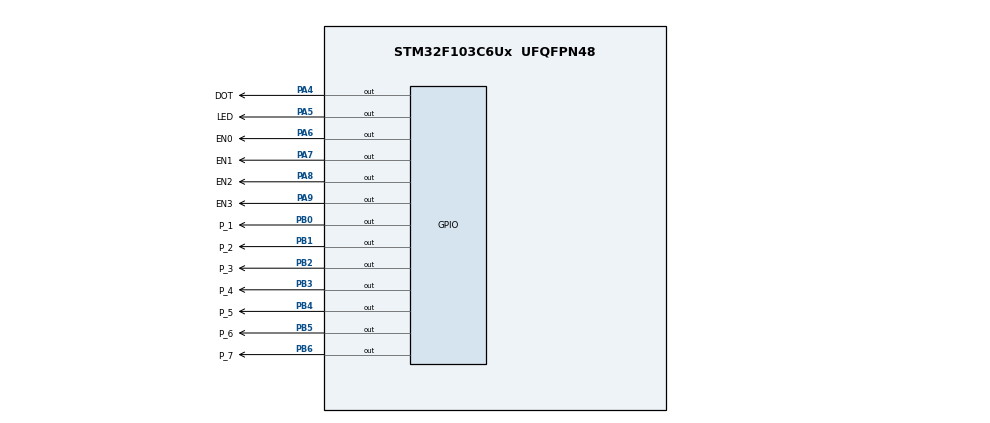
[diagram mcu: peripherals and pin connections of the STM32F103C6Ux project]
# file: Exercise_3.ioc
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Mcu.Family=STM32F1
Mcu.Name=STM32F103C6Ux
Mcu.Package=UFQFPN48
NVIC.PriorityGroup=NVIC_PRIORITYGROUP_4
NVIC.TIM2_IRQn=true\:0\:0\:false\:false\:true\:true\:true
PA4.GPIO_Label=DOT
PA4.Signal=GPIO_Output
PA5.GPIO_Label=LED
PA5.Signal=GPIO_Output
PA6.GPIO_Label=EN0
PA6.Signal=GPIO_Output
PA7.GPIO_Label=EN1
PA7.Signal=GPIO_Output
PA8.GPIO_Label=EN2
PA8.Signal=GPIO_Output
PA9.GPIO_Label=EN3
PA9.Signal=GPIO_Output
PB0.GPIO_Label=P_1
PB0.Signal=GPIO_Output
PB1.GPIO_Label=P_2
PB1.Signal=GPIO_Output
PB2.GPIO_Label=P_3
PB2.Signal=GPIO_Output
PB3.GPIO_Label=P_4
PB3.Signal=GPIO_Output
PB4.GPIO_Label=P_5
PB4.Signal=GPIO_Output
PB5.GPIO_Label=P_6
PB5.Signal=GPIO_Output
PB6.GPIO_Label=P_7
PB6.Signal=GPIO_Output
ProjectManager.HeapSize=0x200
ProjectManager.StackSize=0x400
ProjectManager.TargetToolchain=STM32CubeIDE
RCC.APB1Freq_Value=8000000
RCC.APB2Freq_Value=8000000
TIM2.Period=9
TIM2.Prescaler=7999
VP_SYS_VS_ND.Mode=No_Debug
VP_TIM2_VS_ClockSourceINT.Mode=Internal
board=custom

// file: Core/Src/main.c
/* USER CODE BEGIN Header */
/**
  ******************************************************************************
  * @file           : main.c
  * @brief          : Main program body
  ******************************************************************************
  * @attention
  *
  * <h2><center>&copy; Copyright (c) 2022 STMicroelectronics.
  * All rights reserved.</center></h2>
  *
  * This software component is licensed by ST under BSD 3-Clause license,
  * the "License"; You may not use this file except in compliance with the
  * License. You may obtain a copy of the License at:
  *                        opensource.org/licenses/BSD-3-Clause
  *
  ******************************************************************************
  */
/* USER CODE END Header */
#include "main.h"

TIM_HandleTypeDef htim2;

void SystemClock_Config(void);
static void MX_GPIO_Init(void);
static void MX_TIM2_Init(void);

/* USER CODE BEGIN 0 */
void display7SEG (int time)
{
	if(time==0)
	{
		HAL_GPIO_WritePin(P_1_GPIO_Port, P_1_Pin, RESET);
		HAL_GPIO_WritePin(P_2_GPIO_Port, P_2_Pin, RESET);
		HAL_GPIO_WritePin(P_3_GPIO_Port, P_3_Pin, RESET);
		HAL_GPIO_WritePin(P_4_GPIO_Port, P_4_Pin, RESET);
		HAL_GPIO_WritePin(P_5_GPIO_Port, P_5_Pin, RESET);
		HAL_GPIO_WritePin(P_6_GPIO_Port, P_6_Pin, RESET);
		HAL_GPIO_WritePin(P_7_GPIO_Port, P_7_Pin, SET);
	}
	else if(time==1)
	{
		HAL_GPIO_WritePin(P_1_GPIO_Port, P_1_Pin, SET);
		HAL_GPIO_WritePin(P_2_GPIO_Port, P_2_Pin, RESET);
		HAL_GPIO_WritePin(P_3_GPIO_Port, P_3_Pin, RESET);
		HAL_GPIO_WritePin(P_4_GPIO_Port, P_4_Pin, SET);
		HAL_GPIO_WritePin(P_5_GPIO_Port, P_5_Pin, SET);
		HAL_GPIO_WritePin(P_6_GPIO_Port, P_6_Pin, SET);
		HAL_GPIO_WritePin(P_7_GPIO_Port, P_7_Pin, SET);
	}
	else if(time==2)
	{
		HAL_GPIO_WritePin(P_1_GPIO_Port, P_1_Pin, RESET);
		HAL_GPIO_WritePin(P_2_GPIO_Port, P_2_Pin, RESET);
		HAL_GPIO_WritePin(P_3_GPIO_Port, P_3_Pin, SET);
		HAL_GPIO_WritePin(P_4_GPIO_Port, P_4_Pin, RESET);
		HAL_GPIO_WritePin(P_5_GPIO_Port, P_5_Pin, RESET);
		HAL_GPIO_WritePin(P_6_GPIO_Port, P_6_Pin, SET);
		HAL_GPIO_WritePin(P_7_GPIO_Port, P_7_Pin, RESET);
	}
	else if(time==3)
	{
		HAL_GPIO_WritePin(P_1_GPIO_Port, P_1_Pin, RESET);
		HAL_GPIO_WritePin(P_2_GPIO_Port, P_2_Pin, RESET);
		HAL_GPIO_WritePin(P_3_GPIO_Port, P_3_Pin, RESET);
		HAL_GPIO_WritePin(P_4_GPIO_Port, P_4_Pin, RESET);
		HAL_GPIO_WritePin(P_5_GPIO_Port, P_5_Pin, SET);
		HAL_GPIO_WritePin(P_6_GPIO_Port, P_6_Pin, SET);
		HAL_GPIO_WritePin(P_7_GPIO_Port, P_7_Pin, RESET);
	}
	else if(time==4)
	{
		HAL_GPIO_WritePin(P_1_GPIO_Port, P_1_Pin, SET);
		HAL_GPIO_WritePin(P_2_GPIO_Port, P_2_Pin, RESET);
		HAL_GPIO_WritePin(P_3_GPIO_Port, P_3_Pin, RESET);
		HAL_GPIO_WritePin(P_4_GPIO_Port, P_4_Pin, SET);
		HAL_GPIO_WritePin(P_5_GPIO_Port, P_5_Pin, SET);
		HAL_GPIO_WritePin(P_6_GPIO_Port, P_6_Pin, RESET);
		HAL_GPIO_WritePin(P_7_GPIO_Port, P_7_Pin, RESET);
	}
	else if(time==5)
	{
		HAL_GPIO_WritePin(P_1_GPIO_Port, P_1_Pin, RESET);
		HAL_GPIO_WritePin(P_2_GPIO_Port, P_2_Pin, SET);
		HAL_GPIO_WritePin(P_3_GPIO_Port, P_3_Pin, RESET);
		HAL_GPIO_WritePin(P_4_GPIO_Port, P_4_Pin, RESET);
		HAL_GPIO_WritePin(P_5_GPIO_Port, P_5_Pin, SET);
		HAL_GPIO_WritePin(P_6_GPIO_Port, P_6_Pin, RESET);
		HAL_GPIO_WritePin(P_7_GPIO_Port, P_7_Pin, RESET);
	}
	else if(time==6)
	{
		HAL_GPIO_WritePin(P_1_GPIO_Port, P_1_Pin, RESET);
		HAL_GPIO_WritePin(P_2_GPIO_Port, P_2_Pin, SET);
		HAL_GPIO_WritePin(P_3_GPIO_Port, P_3_Pin, RESET);
		HAL_GPIO_WritePin(P_4_GPIO_Port, P_4_Pin, RESET);
		HAL_GPIO_WritePin(P_5_GPIO_Port, P_5_Pin, RESET);
		HAL_GPIO_WritePin(P_6_GPIO_Port, P_6_Pin, RESET);
		HAL_GPIO_WritePin(P_7_GPIO_Port, P_7_Pin, RESET);
	}
	else if(time==7)
	{
		HAL_GPIO_WritePin(P_1_GPIO_Port, P_1_Pin, RESET);
		HAL_GPIO_WritePin(P_2_GPIO_Port, P_2_Pin, RESET);
		HAL_GPIO_WritePin(P_3_GPIO_Port, P_3_Pin, RESET);
		HAL_GPIO_WritePin(P_4_GPIO_Port, P_4_Pin, SET);
		HAL_GPIO_WritePin(P_5_GPIO_Port, P_5_Pin, SET);
		HAL_GPIO_WritePin(P_6_GPIO_Port, P_6_Pin, SET);
		HAL_GPIO_WritePin(P_7_GPIO_Port, P_7_Pin, SET);
	}
	else if(time==8)
	{
		HAL_GPIO_WritePin(P_1_GPIO_Port, P_1_Pin, RESET);
		HAL_GPIO_WritePin(P_2_GPIO_Port, P_2_Pin, RESET);
		HAL_GPIO_WritePin(P_3_GPIO_Port, P_3_Pin, RESET);
		HAL_GPIO_WritePin(P_4_GPIO_Port, P_4_Pin, RESET);
		HAL_GPIO_WritePin(P_5_GPIO_Port, P_5_Pin, RESET);
		HAL_GPIO_WritePin(P_6_GPIO_Port, P_6_Pin, RESET);
		HAL_GPIO_WritePin(P_7_GPIO_Port, P_7_Pin, RESET);
	}
	else if(time==9)
	{
		HAL_GPIO_WritePin(P_1_GPIO_Port, P_1_Pin, RESET);
		HAL_GPIO_WritePin(P_2_GPIO_Port, P_2_Pin, RESET);
		HAL_GPIO_WritePin(P_3_GPIO_Port, P_3_Pin, RESET);
		HAL_GPIO_WritePin(P_4_GPIO_Port, P_4_Pin, RESET);
		HAL_GPIO_WritePin(P_5_GPIO_Port, P_5_Pin, SET);
		HAL_GPIO_WritePin(P_6_GPIO_Port, P_6_Pin, RESET);
		HAL_GPIO_WritePin(P_7_GPIO_Port, P_7_Pin, RESET);
	}
}

/* USER CODE END 0 */

int main(void)
{

  /* MCU Configuration--------------------------------------------------------*/

  /* Reset of all peripherals, Initializes the Flash interface and the Systick. */
  HAL_Init();

  /* Configure the system clock */
  SystemClock_Config();

  /* Initialize all configured peripherals */
  MX_GPIO_Init();
  MX_TIM2_Init();
  /* USER CODE BEGIN 2 */
  HAL_TIM_Base_Start_IT (&htim2) ;
  /* USER CODE END 2 */

  /* Infinite loop */
  while (1)
  {

  }
}

void SystemClock_Config(void)
{
  RCC_OscInitTypeDef RCC_OscInitStruct = {0};
  RCC_ClkInitTypeDef RCC_ClkInitStruct = {0};

  /** Initializes the RCC Oscillators according to the specified parameters
  * in the RCC_OscInitTypeDef structure.
  */
  RCC_OscInitStruct.OscillatorType = RCC_OSCILLATORTYPE_HSI;
  RCC_OscInitStruct.HSIState = RCC_HSI_ON;
  RCC_OscInitStruct.HSICalibrationValue = RCC_HSICALIBRATION_DEFAULT;
  RCC_OscInitStruct.PLL.PLLState = RCC_PLL_NONE;
  if (HAL_RCC_OscConfig(&RCC_OscInitStruct) != HAL_OK)
  {
    Error_Handler();
  }
  /** Initializes the CPU, AHB and APB buses clocks
  */
  RCC_ClkInitStruct.ClockType = RCC_CLOCKTYPE_HCLK|RCC_CLOCKTYPE_SYSCLK
                              |RCC_CLOCKTYPE_PCLK1|RCC_CLOCKTYPE_PCLK2;
  RCC_ClkInitStruct.SYSCLKSource = RCC_SYSCLKSOURCE_HSI;
  RCC_ClkInitStruct.AHBCLKDivider = RCC_SYSCLK_DIV1;
  RCC_ClkInitStruct.APB1CLKDivider = RCC_HCLK_DIV1;
  RCC_ClkInitStruct.APB2CLKDivider = RCC_HCLK_DIV1;

  if (HAL_RCC_ClockConfig(&RCC_ClkInitStruct, FLASH_LATENCY_0) != HAL_OK)
  {
    Error_Handler();
  }
}

static void MX_TIM2_Init(void)
{

  TIM_ClockConfigTypeDef sClockSourceConfig = {0};
  TIM_MasterConfigTypeDef sMasterConfig = {0};

  htim2.Instance = TIM2;
  htim2.Init.Prescaler = 7999;
  htim2.Init.CounterMode = TIM_COUNTERMODE_UP;
  htim2.Init.Period = 9;
  htim2.Init.ClockDivision = TIM_CLOCKDIVISION_DIV1;
  htim2.Init.AutoReloadPreload = TIM_AUTORELOAD_PRELOAD_DISABLE;
  if (HAL_TIM_Base_Init(&htim2) != HAL_OK)
  {
    Error_Handler();
  }
  sClockSourceConfig.ClockSource = TIM_CLOCKSOURCE_INTERNAL;
  if (HAL_TIM_ConfigClockSource(&htim2, &sClockSourceConfig) != HAL_OK)
  {
    Error_Handler();
  }
  sMasterConfig.MasterOutputTrigger = TIM_TRGO_RESET;
  sMasterConfig.MasterSlaveMode = TIM_MASTERSLAVEMODE_DISABLE;
  if (HAL_TIMEx_MasterConfigSynchronization(&htim2, &sMasterConfig) != HAL_OK)
  {
    Error_Handler();
  }

}

static void MX_GPIO_Init(void)
{
  GPIO_InitTypeDef GPIO_InitStruct = {0};

  /* GPIO Ports Clock Enable */
  __HAL_RCC_GPIOA_CLK_ENABLE();
  __HAL_RCC_GPIOB_CLK_ENABLE();

  /*Configure GPIO pin Output Level */
  HAL_GPIO_WritePin(GPIOA, DOT_Pin|LED_Pin|EN0_Pin|EN1_Pin
                          |EN2_Pin|EN3_Pin, GPIO_PIN_RESET);

  /*Configure GPIO pin Output Level */
  HAL_GPIO_WritePin(GPIOB, P_1_Pin|P_2_Pin|P_3_Pin|P_4_Pin
                          |P_5_Pin|P_6_Pin|P_7_Pin, GPIO_PIN_RESET);

  /*Configure GPIO pins : DOT_Pin LED_Pin EN0_Pin EN1_Pin
                           EN2_Pin EN3_Pin */
  GPIO_InitStruct.Pin = DOT_Pin|LED_Pin|EN0_Pin|EN1_Pin
                          |EN2_Pin|EN3_Pin;
  GPIO_InitStruct.Mode = GPIO_MODE_OUTPUT_PP;
  GPIO_InitStruct.Pull = GPIO_NOPULL;
  GPIO_InitStruct.Speed = GPIO_SPEED_FREQ_LOW;
  HAL_GPIO_Init(GPIOA, &GPIO_InitStruct);

  /*Configure GPIO pins : P_1_Pin P_2_Pin P_3_Pin P_4_Pin
                           P_5_Pin P_6_Pin P_7_Pin */
  GPIO_InitStruct.Pin = P_1_Pin|P_2_Pin|P_3_Pin|P_4_Pin
                          |P_5_Pin|P_6_Pin|P_7_Pin;
  GPIO_InitStruct.Mode = GPIO_MODE_OUTPUT_PP;
  GPIO_InitStruct.Pull = GPIO_NOPULL;
  GPIO_InitStruct.Speed = GPIO_SPEED_FREQ_LOW;
  HAL_GPIO_Init(GPIOB, &GPIO_InitStruct);

}

/* USER CODE BEGIN 4 */
int led_time=100;
int seg_time=1;
int dot_time=50;
const int MAX_LED = 4;
int index_led = 0;
int led_buffer [4] = {1 , 2 , 3 , 4};
void update7SEG ( int index) {
	switch (index)	{
	case 0:
		HAL_GPIO_WritePin(EN0_GPIO_Port, EN0_Pin, RESET);
		HAL_GPIO_WritePin(EN1_GPIO_Port, EN1_Pin, SET);
		HAL_GPIO_WritePin(EN2_GPIO_Port, EN2_Pin, SET);
		HAL_GPIO_WritePin(EN3_GPIO_Port, EN3_Pin, SET);
		display7SEG(led_buffer[0]);
		break;
	case 1:
		HAL_GPIO_WritePin(EN0_GPIO_Port, EN0_Pin, SET);
		HAL_GPIO_WritePin(EN1_GPIO_Port, EN1_Pin, RESET);
		HAL_GPIO_WritePin(EN2_GPIO_Port, EN2_Pin, SET);
		HAL_GPIO_WritePin(EN3_GPIO_Port, EN3_Pin, SET);
		display7SEG(led_buffer[1]);
		break;
	case 2:
		HAL_GPIO_WritePin(EN0_GPIO_Port, EN0_Pin, SET);
		HAL_GPIO_WritePin(EN1_GPIO_Port, EN1_Pin, SET);
		HAL_GPIO_WritePin(EN2_GPIO_Port, EN2_Pin, RESET);
		HAL_GPIO_WritePin(EN3_GPIO_Port, EN3_Pin, SET);
		display7SEG(led_buffer[2]);
		break;
	case 3:
		HAL_GPIO_WritePin(EN0_GPIO_Port, EN0_Pin, SET);
		HAL_GPIO_WritePin(EN1_GPIO_Port, EN1_Pin, SET);
		HAL_GPIO_WritePin(EN2_GPIO_Port, EN2_Pin, SET);
		HAL_GPIO_WritePin(EN3_GPIO_Port, EN3_Pin, RESET);
		display7SEG(led_buffer[3]);
		break;
	default:
		break;
	}
 }
void HAL_TIM_PeriodElapsedCallback ( TIM_HandleTypeDef * htim )
{
	if(led_time>0)
	{
		led_time--;
		if(led_time<=0)
		{
			led_time=100;
			HAL_GPIO_TogglePin(LED_GPIO_Port, LED_Pin);

		}
	}
	if(dot_time>0)
	{
		dot_time--;
		if(dot_time<=0)
		{
			dot_time=50;
			HAL_GPIO_TogglePin(DOT_GPIO_Port, DOT_Pin);
		}
	}
	if(seg_time>0)
	{
		seg_time--;
		if(seg_time<=0)
		{
			update7SEG(index_led++);
			if(index_led>3)
			{
				index_led=0;
			}
			seg_time=25;
		}
	}

}
/* USER CODE END 4 */

void Error_Handler(void)
{
  __disable_irq();
  while (1)
  {
  }
}

/************************ (C) COPYRIGHT STMicroelectronics *****END OF FILE****/
